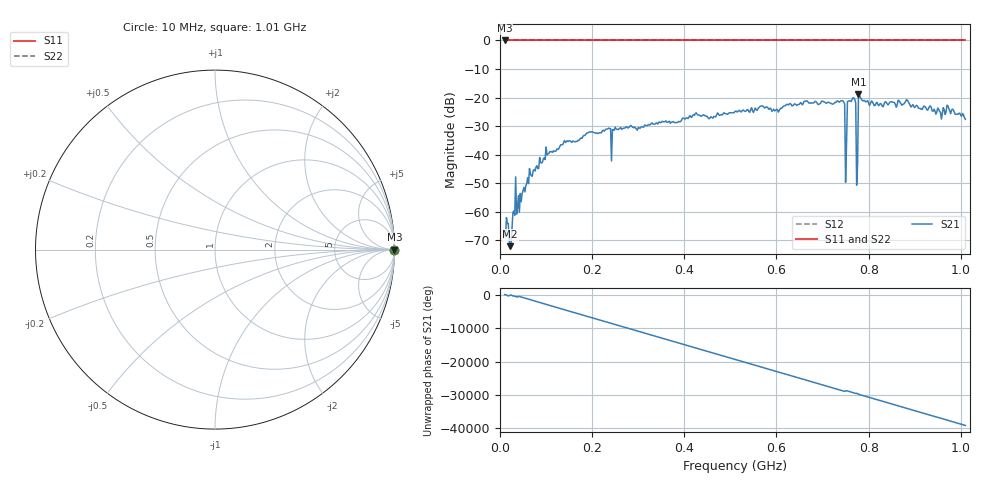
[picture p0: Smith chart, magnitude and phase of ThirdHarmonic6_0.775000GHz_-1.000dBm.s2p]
! 8/16/2025 1:53:22 AM
! C:\ANRITSUVNA\TEMP\TEMP.S2P
! CHANNEL.1
! TR.MEASUREMENT
! RAW.DATA
! RF.CORRECTION.OFF
! AVERAGING.OFF
! IF.BANDWIDTH: 5KHZ
! SWEEPTYPE:  FREQ.SWEEP(Linear)
! Reference Plane Port Info
! PORT:  PORT1  PORT2
! DISTANCE:  0  m  0  m
! TIME:  0  s  0  s
! PHASE.OFFSET:  0  deg.  0  deg.
! LOSS:  0  dB  0  dB
! REF.LOSS:  0  dB  0  dB
! REF.FREQ:  0  Hz  0  Hz
! Power Info
! POWER:  -20  dBm  -20  dBm
! EFF.POWER:  -20  dBm  -20  dBm
! SOURCE.ATTEN:  0  dB  0  dB
! TEST.ATTEN:  0  dB  0  dB
# GHZ S RI R 50.0
! FREQ.GHZ  S11RE  S11IM  S21RE  S21IM  S12RE  S12IM  S22RE  S22IM
!; PortSelection: Port_12
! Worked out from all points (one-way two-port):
!   501 points, 10 MHz to 1.01 GHz, reference 50 ohm
!   highest |S21| = -18.71 dB at 778 MHz (marker M1); lowest = -72.0 dB at 22 MHz (marker M2)
!   lowest |S11| = 0.0 dB at 10 MHz (marker M3)
!   |S11| at or under -10 dB: nowhere
!   |S22| runs from 0.0 to 0.0 dB; largest |S21 - S12| = 1.1
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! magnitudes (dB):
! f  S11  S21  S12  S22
! 10 MHz  0.0  -67.5  0.0  0.0
! 22 MHz  0.0  -72.0  0.0  0.0
! 32 MHz  0.0  -61.2  0.0  0.0
! 40 MHz  0.0  -54.3  0.0  0.0
! 68 MHz  0.0  -47.3  0.0  0.0
! 104 MHz  0.0  -39.7  0.0  0.0
! 178 MHz  0.0  -34.3  0.0  0.0
! 344 MHz  0.0  -28.8  0.0  0.0
! 510 MHz  0.0  -24.9  0.0  0.0
! 678 MHz  0.0  -21.8  0.0  0.0
! 744 MHz  0.0  -21.1  0.0  0.0
! 748 MHz  0.0  -22.2  0.0  0.0
! 750 MHz  0.0  -49.6  0.0  0.0
! 754 MHz  0.0  -21.4  0.0  0.0
! 758 MHz  0.0  -21.1  0.0  0.0
! 768 MHz  0.0  -20.2  0.0  0.0
! 772 MHz  0.0  -21.9  0.0  0.0
! 778 MHz  0.0  -18.7  0.0  0.0
! 782 MHz  0.0  -20.0  0.0  0.0
! 844 MHz  0.0  -22.2  0.0  0.0
! 972 MHz  0.0  -22.8  0.0  0.0
! 1.01 GHz  0.0  -27.6  0.0  0.0
